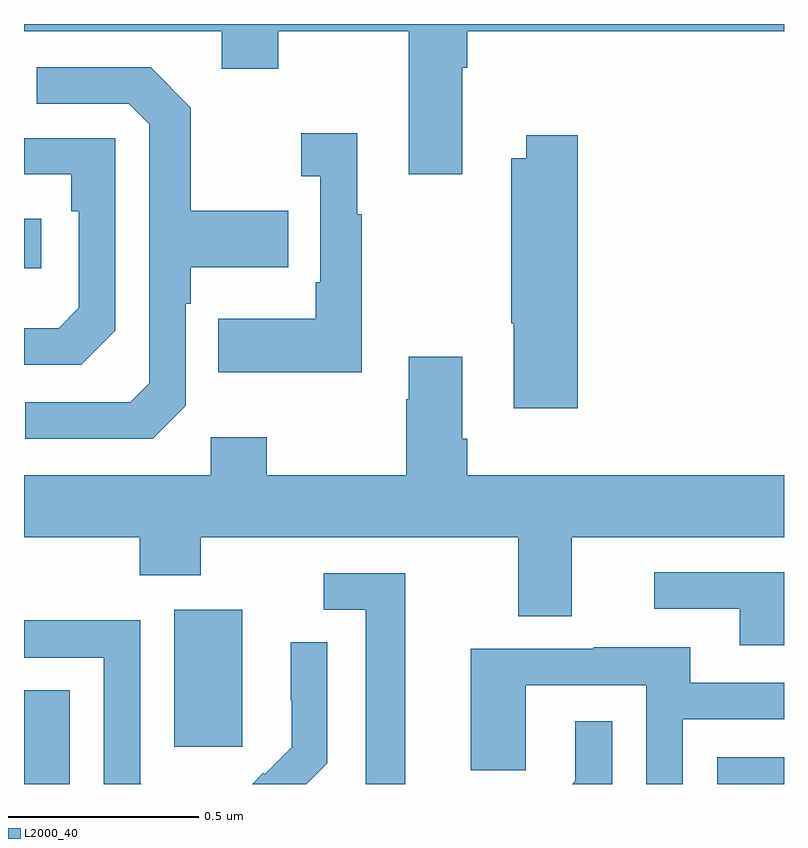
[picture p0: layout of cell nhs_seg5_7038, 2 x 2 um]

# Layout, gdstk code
import gdstk
lib = gdstk.Library(unit=1e-6, precision=1e-09)
def R(c, l, rs):  # rectangles x0, y0, x1, y1
    for r in rs: c.add(gdstk.rectangle(r[:2], r[2:], *l))
def P(c, l, *ps):  # polygons
    for p in ps: c.add(gdstk.Polygon(p, *l))
L2000_40 = (2000, 40)

nhs_seg5_7038 = lib.new_cell('nhs_seg5_7038')
R(nhs_seg5_7038, L2000_40, [(204,834.799,204.121,835.046), (205.824,834.799,206,834.87), (204.395,834.897,204.574,835.258), (204,836.156,204.046,836.286)])
P(nhs_seg5_7038, L2000_40, [(205.153,836.684),(205.166,836.684),(205.166,836.78),(206,836.78),(206,836.799),(204,836.799),(204,836.78),(204.521,836.78),(204.521,836.681),(204.669,836.681),(204.669,836.78),(205.013,836.78),(205.013,836.403),(205.153,836.403)],
  [(204.426,835.794),(204.426,836.063),(204.439,836.063),(204.439,836.159),(204.695,836.159),(204.695,836.307),(204.439,836.307),(204.439,836.579),(204.333,836.685),(204.033,836.685),(204.033,836.589),(204.276,836.589),(204.33,836.535),(204.33,835.854),(204.279,835.803),(204.003,835.803),(204.003,835.707),(204.339,835.707)],
  [(204.889,836.299),(204.877,836.299),(204.877,836.512),(204.729,836.512),(204.729,836.399),(204.78,836.399),(204.78,836.119),(204.768,836.119),(204.768,836.023),(204.511,836.023),(204.511,835.883),(204.889,835.883)],
  [(205.457,836.506),(205.322,836.506),(205.322,836.446),(205.282,836.446),(205.282,836.011),(205.289,836.011),(205.289,835.788),(205.457,835.788)],
  [(204.24,835.992),(204.24,836.499),(204,836.499),(204,836.403),(204.124,836.403),(204.124,836.306),(204.144,836.306),(204.144,836.052),(204.091,835.999),(204,835.999),(204,835.902),(204.15,835.902)],
  [(205.441,835.448),(206,835.448),(206,835.612),(205.166,835.612),(205.166,835.708),(205.153,835.708),(205.153,835.924),(205.013,835.924),(205.013,835.811),(205.006,835.811),(205.006,835.612),(204.639,835.612),(204.639,835.711),(204.492,835.711),(204.492,835.612),(204,835.612),(204,835.448),(204.305,835.448),(204.305,835.349),(204.465,835.349),(204.465,835.448),(205.301,835.448),(205.301,835.24),(205.441,835.24)],
  [(206,835.356),(205.659,835.356),(205.659,835.26),(205.883,835.26),(205.883,835.164),(206,835.164)],
  [(205.003,835.353),(204.789,835.353),(204.789,835.257),(204.899,835.257),(204.899,834.799),(205.003,834.799)],
  [(204.309,834.8),(204.306,834.8),(204.306,835.23),(204,835.23),(204,835.131),(204.21,835.131),(204.21,834.799),(204.309,834.799)],
  [(204.798,834.854),(204.798,835.172),(204.702,835.172),(204.702,835.018),(204.704,835.018),(204.704,834.896),(204.633,834.825),(204.63,834.828),(204.601,834.799),(204.743,834.799)],
  [(205.734,834.969),(206,834.969),(206,835.065),(205.753,835.065),(205.753,835.159),(205.499,835.159),(205.499,835.155),(205.175,835.155),(205.175,834.835),(205.32,834.835),(205.32,835.059),(205.638,835.059),(205.638,834.799),(205.734,834.799)],
  [(205.548,834.964),(205.451,834.964),(205.451,834.807),(205.443,834.799),(205.548,834.799)])

lib.write_gds('nhs_seg5_7038.gds')
